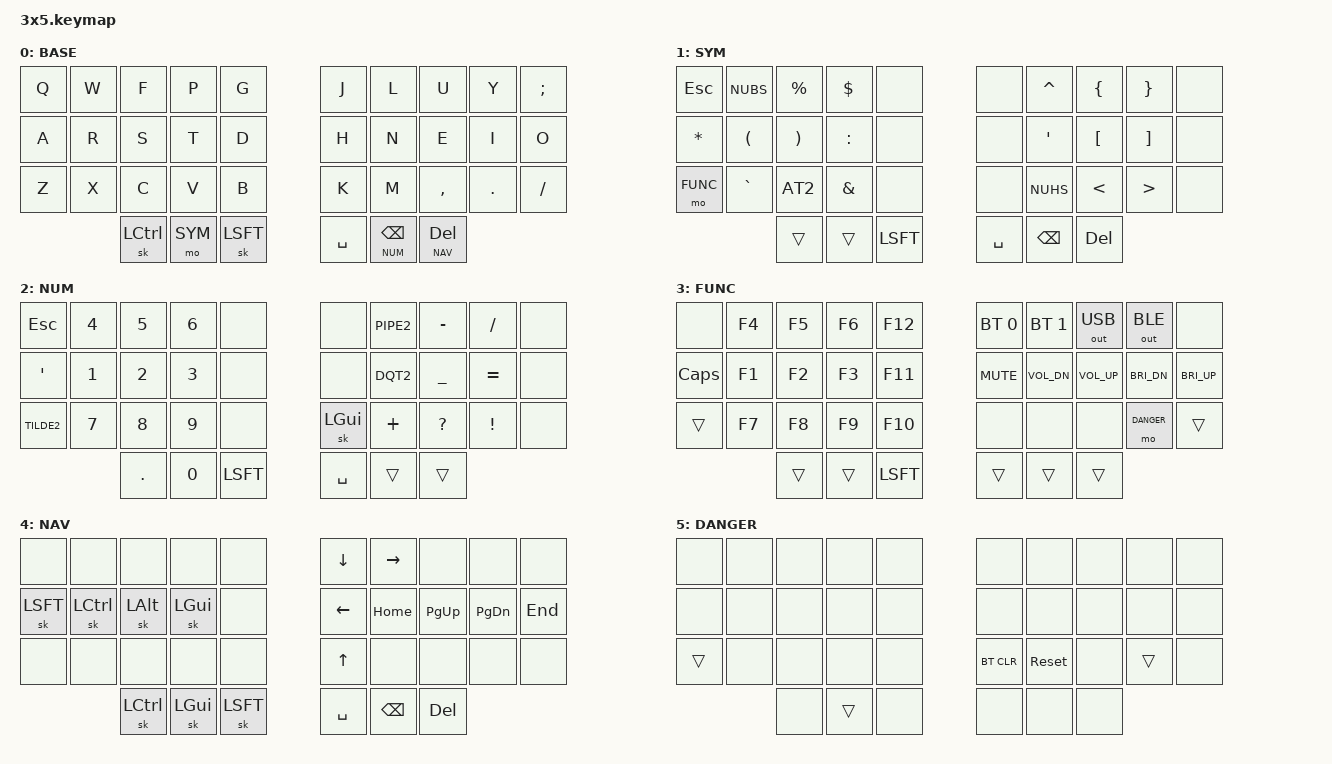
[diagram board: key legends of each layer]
/*
 * Seth's Corne-ish Zen config
 * Things to remember:
 * 1) Nav layer can be accessed by xc combo, or with third thumb key on right hand
 * 2) Can roll NUM+GUI keys to be able to hit GUI+NUMBER for desktop switching etc
 * 
 * COMBS
 * ╭──────────────╮     ╭──────────────╮
 * │ 0  1  2  3  4│     │ 5  6  7  8  9│
 * │10 11 12 13 14│     │15 16 17 18 19│
 * │20 21 22 23 24╰─╮ ╭─╯25 26 27 28 29│
 * ╰───────╮30 31 32│ │33 34 35╭───────╯
 *         ╰────────╯ ╰────────╯
 *   1 & 2  - DEL
 *  21 & 22 - TAB
 *  31 & 24 - ALT
 *                    7 & 8  - ENTER
 *                   25 & 34 - GUI
 */


#include <behaviors.dtsi>
#include <dt-bindings/zmk/keys.h>
#include <dt-bindings/zmk/bt.h>
#include <dt-bindings/zmk/outputs.h>

#define DQT2 (LS(ZMK_HID_USAGE(HID_USAGE_KEY, HID_USAGE_KEY_KEYBOARD_2_AND_AT)))
#define AT2 (LS(ZMK_HID_USAGE(HID_USAGE_KEY, HID_USAGE_KEY_KEYBOARD_APOSTROPHE_AND_QUOTE)))

#define BASE 0
#define SYM 1
#define NUM 2
#define FUNC 3
#define NAV 4
#define DANGER 5

/ {

    behaviors {
        skq: sticky_key_quick_release {
            compatible = "zmk,behavior-sticky-key";
            label = "STICKY_KEY_QUICK_RELEASE";
            #binding-cells = <1>;
            bindings = <&kp>;
            release-after-ms = <1000>;
            quick-release;
        };
    };

    combos {
        compatible = "zmk,combos";
        
        // W + F = TAB
        combo_wf_tab {
            layers = <0 1 2 3 4 5 6 7>;
            timeout-ms = <50>;
            key-positions = <1 2>;
            bindings = <&kp TAB>;
        };

        // X + C = DEL
        combo_xc_delete {
            layers = <0 1 2 3 4 5>;
            timeout-ms = <50>;
            key-positions = <21 22>;
            bindings = <&lt NAV DEL>;
        };

        // SYM + B = ALT
        combo_alt {
            layers = <0 1 2 3 4 5 6 7>;
            timeout-ms = <50>;
            key-positions = <24 31>;
            bindings = <&sk LALT>;
        };

        // NUM + K = LGUI
        combo_gui {
            layers = <0 1 2 3 4 5>;
            timeout-ms = <50>;
            key-positions = <25 34>;
            bindings = <&sk LGUI>;
        };

        // U + Y = RETURN
        combo_uy_ret {
            layers = <0 1 2 3 4 5 6 7>;
            timeout-ms = <50>;
            key-positions = <7 8>;
            bindings = <&kp RET>;
        };
    };
};



/ {
        keymap {
                compatible = "zmk,keymap";
                colemak_layer {
                    label = "BASE";
//  ╭─────┬─────┬─────┬─────┬─────╮             ╭────────┬───────┬─────┬─────┬─────╮
//  │  Q  │  W  │  F  │  P  │  G  │             │    J   │   L   │  U  │  Y  │  ;  │
//  │  A  │  R  │  S  │  T  │  D  │             │    H   │   N   │  E  │  I  │  O  │
//  │  Z  │  X  │  C  │  V  │  B  ├─────╮ ╭─────┤    K   │   M   │  ,  │  .  │  /  │
//  ╰─────┴─────┴─────┤ CTL │-SYM-│ SFT │ │ SPC │NUM/BKSP│DEL/NAV├─────┴─────┴─────╯
//                    ╰─────┴─────┴─────╯ ╰─────┴────────┴───────╯
                        bindings = <
&kp Q  &kp W  &kp F     &kp P    &kp G           &kp J      &kp L         &kp U      &kp Y    &kp SEMI
&kp A  &kp R  &kp S     &kp T    &kp D           &kp H      &kp N         &kp E      &kp I    &kp O
&kp Z  &kp X  &kp C     &kp V    &kp B           &kp K      &kp M         &kp COMMA  &kp DOT  &kp FSLH
              &sk LCTL  &mo SYM  &sk LSFT        &kp SPACE  &lt NUM BSPC  &lt NAV DEL
                        >;
                };
                symbol_layer {
                    label = "SYM";
//  ╭──────┬─────┬─────┬─────┬─────╮             ╭─────┬─────┬─────┬─────┬─────╮
//  │ ESC  │  \  │  %  │  $  │     │             │     │  ^  │  {  │  }  │     │
//  │  *   │  (  │  )  │  :  │     │             │     │  '  │  [  │  ]  │     │
//  │-FUNC-│  `  │  @  │  &  │     ├─────╮ ╭─────┤     │  #  │  <  │  >  │     │
//  ╰──────┴─────┴─────┤     │_SYM_│ SFT │ │ SPC │BKSP │ DEL ├─────┴─────┴─────╯
//                     ╰─────┴─────┴─────╯ ╰─────┴─────┴─────╯
                        bindings = <
&kp ESC   &kp NUBS   &kp PRCNT  &kp DLLR  &none        &none     &kp CARET &kp LBRC &kp RBRC &none
&kp STAR  &kp LPAR   &kp RPAR   &kp COLON &none        &none     &kp SQT   &kp LBKT &kp RBKT &none
&mo FUNC  &kp GRAVE  &kp AT2    &kp AMPS  &none        &none     &kp NUHS  &kp LT   &kp GT   &none
                     &trans     &trans    &kp LSFT     &kp SPACE &kp BSPC  &kp DEL
                        >;
                };
                number_layer {
                    label = "NUM";
//  ╭─────┬─────┬─────┬─────┬─────╮             ╭─────┬─────┬─────┬─────┬─────╮
//  │ ESC │  4  │  5  │  6  │     │             │     │  |  │  -  │  /  │     │
//  │  '  │  1  │  2  │  3  │     │             │     │  "  │  _  │  =  │     │
//  │  ~  │  7  │  8  │  9  │     ├─────╮ ╭─────┤ GUI │  +  │  ?  │  !  │     │
//  ╰─────┴─────┴─────┤  .  │  0  │ SFT │ │ SPC │_NUM_│     ├─────┴─────┴─────╯
//                    ╰─────┴─────┴─────╯ ╰─────┴─────┴─────╯
                        bindings = <
&kp ESC    &kp N4  &kp N5  &kp N6 &none         &none      &kp PIPE2 &kp MINUS  &kp FSLH    &none
&kp SQT    &kp N1  &kp N2  &kp N3 &none         &none      &kp DQT2  &kp UNDER  &kp EQUAL   &none
&kp TILDE2 &kp N7  &kp N8  &kp N9 &none         &sk LGUI   &kp PLUS  &kp QMARK  &kp EXCL    &none
                   &kp DOT &kp N0 &kp LSFT      &kp SPACE  &trans    &trans
                        >;
                };
                FUNC_layer {
                    label = "FUNC";
//  ╭──────┬─────┬─────┬─────┬─────╮             ╭─────┬─────┬─────┬─────┬─────╮
//  │      │ F 4 │ F 5 │ F 6 │ F12 │             │ BT0 │ BT1 │ USB │ BLE │     │
//  │CAPSL │ F 1 │ F 2 │ F 1 │ F11 │             │VMUTE│VOLDN│VOLUP│BRIDN│BRIUP│
//  │_FUNC_│ F 7 │ F 8 │ F 9 │ F10 ├─────╮ ╭─────┤     │     │SLEEP│-!!!-│     │
//  ╰──────┴─────┴─────┤     │_SYM_│ SFT │ │ SPC │     │     ├─────┴─────┴─────╯
//                     ╰─────┴─────┴─────╯ ╰─────┴─────┴─────╯
                        bindings = <
&none    &kp F4  &kp F5  &kp F6  &kp F12         &bt BT_SEL 0 &bt BT_SEL 1  &out OUT_USB  &out OUT_BLE  &none
&kp CAPS &kp F1  &kp F2  &kp F3  &kp F11         &kp K_MUTE   &kp C_VOL_DN  &kp C_VOL_UP  &kp C_BRI_DN  &kp C_BRI_UP
&trans   &kp F7  &kp F8  &kp F9  &kp F10         &none        &none         &none         &mo DANGER    &trans
                 &trans  &trans  &kp LSFT        &trans       &trans        &trans 
                        >;
                };
                nav_layer {
                    label = "NAV";
//  ╭─────┬─────┬─────┬─────┬─────╮             ╭─────┬─────┬─────┬─────┬─────╮
//  │     │     │     │     │     │             │ DOW │RIGHT│     │     │     │
//  │ SFT │ CTL │ GUI │ ALT │     │             │ LFT │HOME │PGUP │PGDN │ END │
//  │     │   _NAV_   │     │     ├─────╮ ╭─────┤ U P │     │     │     │     │
//  ╰─────┴─────┴─────┤ CTL │ GUI │ SFT │ │ SPC │BSPC │_NAV_├─────┴─────┴─────╯
//                    ╰─────┴─────┴─────╯ ╰─────┴─────┴─────╯
                        bindings = <
&none     &none     &none     &none     &none         &kp DOWN   &kp RIGHT  &none      &none      &none
&sk LSFT  &sk LCTL  &sk LALT  &sk LGUI  &none         &kp LEFT   &kp HOME   &kp PG_UP  &kp PG_DN  &kp END
&none     &none     &none     &none     &none         &kp UP     &none      &none      &none      &none
                    &sk LCTL  &sk LGUI  &sk LSFT      &kp SPACE  &kp BSPC   &kp DEL
                        >;
                };
                danger_layer {
                    label = "DANGER";
//  ╭──────┬─────┬─────┬─────┬─────╮             ╭─────┬─────┬─────┬─────┬─────╮
//  │      │     │     │     │     │             │     │     │     │     │     │
//  │      │     │     │     │     │             │     │     │     │     │     │
//  │_FUNC_│   _NAV_   │     │     ├─────╮ ╭─────┤BTCLR│RESET│     │_!!!_│     │
//  ╰──────┴─────┴─────┤_SYM_│     │     │ │     │     │     ├─────┴─────┴─────╯
//                     ╰─────┴─────┴─────╯ ╰─────┴─────┴─────╯
                    // impactful buttons
                    // Bluetooth clear, reset
                    bindings = <
&none  &none &none &none  &none      &none      &none  &none &none  &none
&none  &none &none &none  &none      &none      &none  &none &none  &none
&trans &none &none &none  &none      &bt BT_CLR &sys_reset &none &trans &none
             &none &trans &none      &none      &none  &none 
                    >;
                };
        };
};
